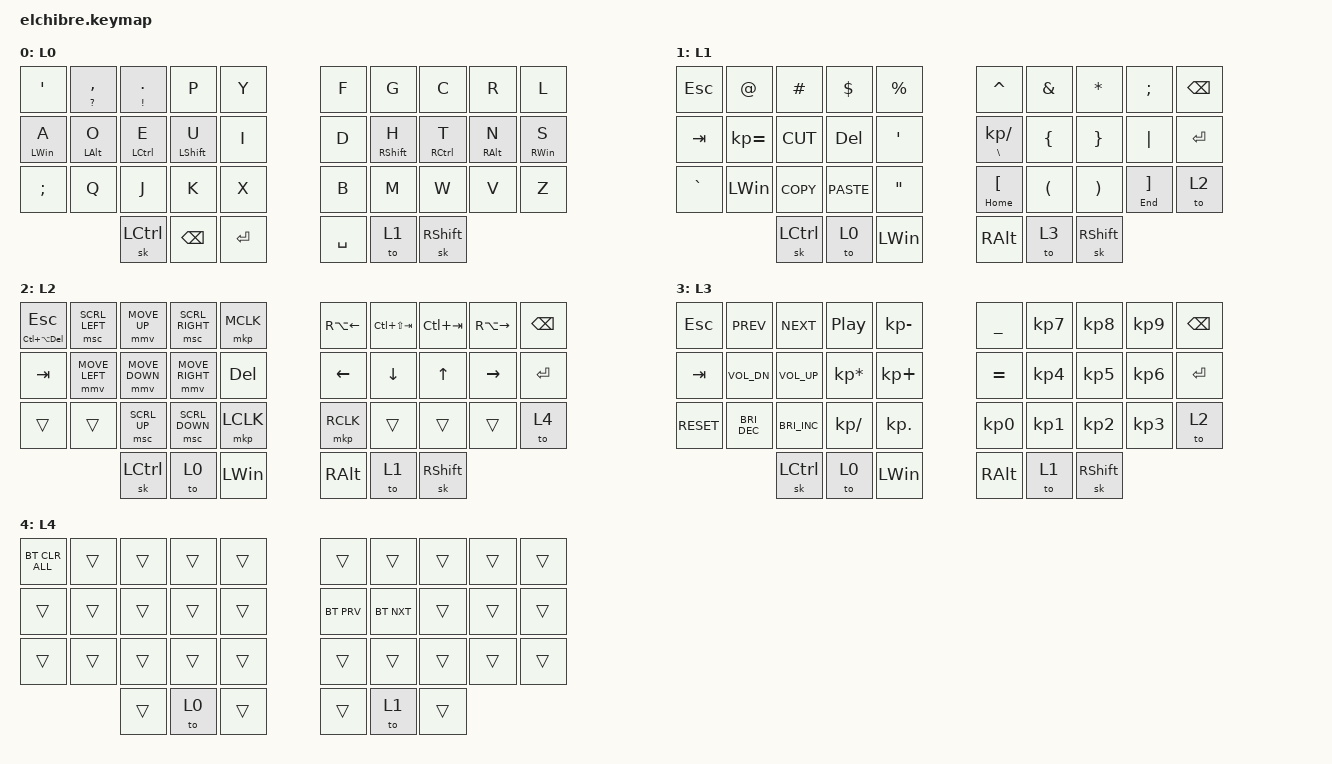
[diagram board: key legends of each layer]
#include <dt-bindings/zmk/mouse.h>
#include <behaviors.dtsi>
#include <dt-bindings/zmk/bt.h>
#include <dt-bindings/zmk/keys.h>
#include <dt-bindings/zmk/pointing.h>

/ {
    keymap {
        compatible = "zmk,keymap";

        L0 {
            // --------------------------------------------------------------------
            // |  '  |  ,  |  .  |  P  |  Y  |     |  F  |  G   |  C  |  R  |  L  |
            // |  A  |  O  |  E  |  U  |  I  |     |  D  |  H   |  T  |  N  |  S  |
            // |  ;  |  Q  |  J  |  K  |  X  |     |  B  |  M   |  W  |  V  |  Z  |
            //             |CTRL | BCK | ENT |     | SPC |  L1  | SHFT|
            // --------------------------------------------------------------------
            bindings = <
              &kp APOS          &mt QUESTION COMMA  &mt EXCLAMATION DOT  &kp P             &kp Y        &kp F      &kp G              &kp C                &kp R            &kp L            
              &mt LEFT_WIN A    &mt LEFT_ALT O      &mt LCTRL E          &mt LEFT_SHIFT U  &kp I        &kp D      &mt RIGHT_SHIFT H  &mt RIGHT_CONTROL T  &mt RIGHT_ALT N  &mt RIGHT_WIN S  
              &kp SEMI          &kp Q               &kp J                &kp K             &kp X        &kp B      &kp M              &kp W                &kp V            &kp Z           
              &sk LEFT_CONTROL  &kp BACKSPACE       &kp ENTER            &kp SPACE         &to 1        &sk RIGHT_SHIFT
            >;
        };

        L1 {
            bindings = <
              &kp ESCAPE        &kp AT        &kp HASH          &kp DOLLAR     &kp PERCENT         &kp CARET               &kp AMPS              &kp ASTRK              &kp SEMI               &kp BACKSPACE  
              &kp TAB           &kp KP_EQUAL  &kp K_CUT         &kp DEL        &kp SINGLE_QUOTE    &mt BACKSLASH KP_SLASH  &kp LEFT_BRACE        &kp RIGHT_BRACE        &kp PIPE               &kp ENTER      
              &kp GRAVE         &kp LEFT_WIN  &kp K_COPY        &kp K_PASTE    &kp DQT             &mt HOME LEFT_BRACKET   &kp LEFT_PARENTHESIS  &kp RIGHT_PARENTHESIS  &mt END RIGHT_BRACKET  &to 2         
              &sk LEFT_CONTROL  &to 0         &kp LWIN          &kp RIGHT_ALT  &to 3               &sk RIGHT_SHIFT
            >;
        };

        L2 {
            bindings = <
              &mt LC(LA(DELETE)) ESCAPE  &msc SCRL_LEFT  &mmv MOVE_UP      &msc SCRL_RIGHT  &mkp MCLK       &kp RA(LEFT_ARROW)  &kp LC(LS(TAB))  &kp LC(TAB)  &kp RA(RIGHT)  &kp BACKSPACE 
              &kp TAB                    &mmv MOVE_LEFT  &mmv MOVE_DOWN    &mmv MOVE_RIGHT  &kp DEL         &kp LEFT            &kp DOWN         &kp UP       &kp RIGHT      &kp ENTER      
              &trans                     &trans          &msc SCRL_UP      &msc SCRL_DOWN   &mkp LCLK       &mkp RCLK           &trans           &trans       &trans         &to 4          
              &sk LEFT_CONTROL           &to 0           &kp LEFT_WIN      &kp RIGHT_ALT    &to 1           &sk RSHIFT
            >;
        };

        L3 {
            bindings = <
              &kp ESCAPE        &kp C_PREV            &kp C_NEXT            &kp C_PLAY_PAUSE  &kp KP_MINUS    &kp UNDERSCORE   &kp KP_NUMBER_7  &kp KP_NUMBER_8  &kp KP_NUMBER_9  &kp BACKSPACE 
              &kp TAB           &kp C_VOL_DN          &kp C_VOLUME_UP       &kp KP_MULTIPLY   &kp KP_PLUS     &kp EQUAL        &kp KP_NUMBER_4  &kp KP_NUMBER_5  &kp KP_NUMBER_6  &kp ENTER     
              &kp C_RESET       &kp C_BRIGHTNESS_DEC  &kp C_BRIGHTNESS_INC  &kp KP_DIVIDE     &kp KP_DOT      &kp KP_NUMBER_0  &kp KP_NUMBER_1  &kp KP_NUMBER_2  &kp KP_NUMBER_3  &to 2         
              &sk LEFT_CONTROL  &to 0                 &kp LEFT_WIN          &kp RIGHT_ALT     &to 1           &sk RSHIFT
            >;
        };

        L4 {
            bindings = <
              &bt BT_CLR_ALL  &trans  &trans  &trans  &trans    &trans      &trans      &trans  &trans  &trans
              &trans          &trans  &trans  &trans  &trans    &bt BT_PRV  &bt BT_NXT  &trans  &trans  &trans
              &trans          &trans  &trans  &trans  &trans    &trans      &trans      &trans  &trans  &trans
              &trans          &to 0   &trans  &trans  &to 1     &trans
            >;
        };
    };
};
